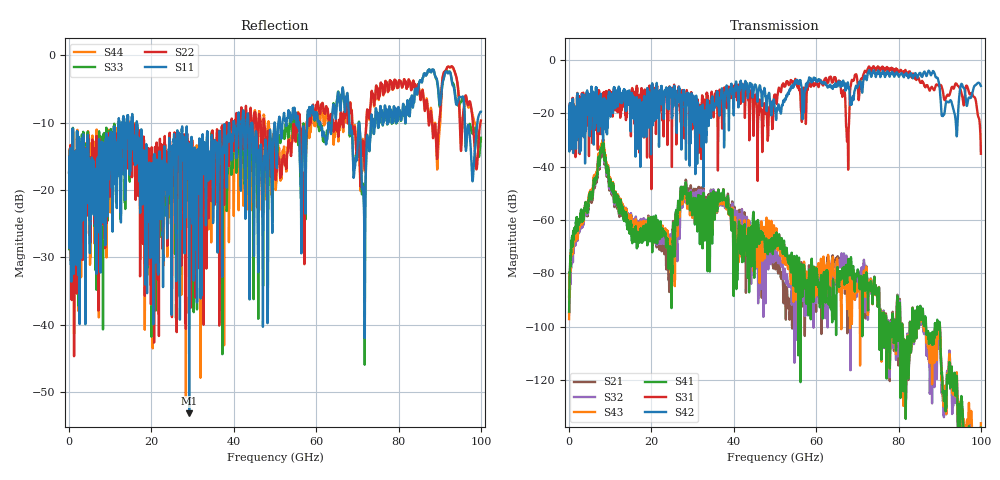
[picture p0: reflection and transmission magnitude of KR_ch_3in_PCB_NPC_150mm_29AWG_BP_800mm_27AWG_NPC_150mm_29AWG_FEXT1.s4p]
# GHz S RI R 45
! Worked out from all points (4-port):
!   4000 points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, 25 MHz to 100 GHz, reference 45 ohm
!   strongest paths, dB at 25 MHz, 25.02 GHz, 50.02 GHz, 75.03 GHz, 100 GHz:
!     S42: -22.2, -20.8, -18.7, -4.1, -9.8
!     S31: -22.1, -22.1, -13.3, -2.4, -35.2
!     S41: -94.3, -77.0, -70.6, -92.0, -137.7
!     S43: -97.1, -70.6, -70.5, -91.9, -136.1
!     S32: -94.6, -65.9, -72.6, -91.7, -142.1
!     S21: -88.6, -67.5, -76.4, -91.7, -142.8
!   lowest |S11| = -53.1 dB at 29.18 GHz (marker M1), VSWR 1.00, Z = 44.9 + j0.151 ohm
!   |S11| at or under -10 dB: start of sweep to 12.08 GHz; 16.48 GHz to 39.96 GHz (23.48 GHz wide, 83.2 % of centre); 43.53 GHz to 49.92 GHz (6.387 GHz wide, 13.7 % of centre) (the widest 3 of 40)
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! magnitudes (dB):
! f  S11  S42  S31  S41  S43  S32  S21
! 25 MHz  -17.4  -22.2  -22.1  -94.3  -97.1  -94.6  -88.6
! 8.025 GHz  -15.7  -27.9  -17.6  -32.5  -30.9  -32.5  -34.0
! 24 GHz  -18.2  -15.9  -22.7  -68.9  -65.3  -66.2  -71.4
! 29.18 GHz  -53.1  -16.4  -31.7  -51.0  -53.0  -49.8  -48.6
! 67.62 GHz  -5.8  -8.7  -28.3  -80.5  -89.4  -87.3  -89.9
! 77.2 GHz  -9.6  -4.6  -2.7  -108.0  -107.4  -105.3  -107.3
! 100 GHz  -8.4  -9.8  -35.2  -137.7  -136.1  -142.1  -142.8
